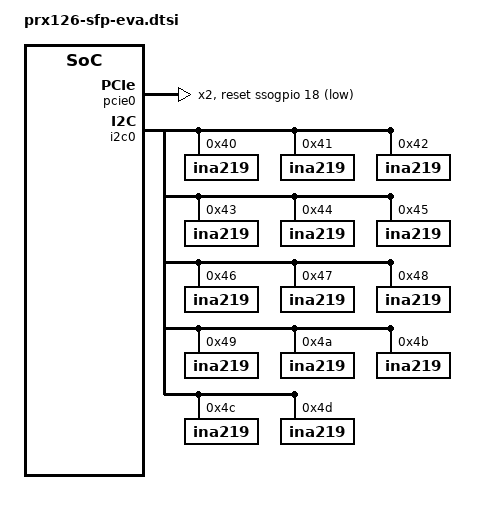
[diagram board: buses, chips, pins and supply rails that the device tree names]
#include <dt-bindings/gpio/gpio.h>
#include "prx126-sfp.dtsi"

/******************************************************************************
 ** Board configuration: Enable PCIe board configuration.
 ** PCIE sub-system feature configuration, the pcie0/1 are defined in Soc level
 ******************************************************************************/
&pcie0 {
	intel,rst-interval = <200>;
	intel,inbound-swap = <1>;
	intel,outbound-swap = <0>;
	reset-gpios = <&ssogpio 18 GPIO_ACTIVE_LOW>;
	num-lanes = <2>;
};

/******************************************************************************
 ** Board configuration: Enable CoC power management board feature
 ******************************************************************************/
&i2c0 {
	/* power monitor */
	ina219@40 {
		compatible = "ina219";
		reg = <0x40>;
		shunt-resistor = <10000>;
		rail-name = "PWR_12V";
	};

	ina219@41 {
		compatible = "ina219";
		reg = <0x41>;
		shunt-resistor = <10000>;
		rail-name = "PWR_3V3";
	};

	ina219@42 {
		compatible = "ina219";
		reg = <0x42>;
		shunt-resistor = <10000>;
		rail-name = "PWR_1V2_1V35";
	};

	ina219@43 {
		compatible = "ina219";
		reg = <0x43>;
		shunt-resistor = <10000>;
		rail-name = "PWR_0V9";
	};

	ina219@44 {
		compatible = "ina219";
		reg = <0x44>;
		shunt-resistor = <10000>;
		rail-name = "PWR_1V2_DDR";
	};

	ina219@45 {
		compatible = "ina219";
		reg = <0x45>;
		shunt-resistor = <10000>;
		rail-name = "PWR_2V5_DDR";
	};

	ina219@46 {
		compatible = "ina219";
		reg = <0x46>;
		shunt-resistor = <10000>;
		rail-name = "PWR_CPLD";
	};

	ina219@47 {
		compatible = "ina219";
		reg = <0x47>;
		shunt-resistor = <10000>;
		rail-name = "PWR_3V3_TID0";
	};

	ina219@48 {
		compatible = "ina219";
		reg = <0x48>;
		shunt-resistor = <10000>;
		rail-name = "PWR_12V_TID0";
	};

	ina219@49 {
		compatible = "ina219";
		reg = <0x49>;
		shunt-resistor = <10000>;
		rail-name = "PWR_3V3_TID1";
	};

	ina219@4a {
		compatible = "ina219";
		reg = <0x4a>;
		shunt-resistor = <10000>;
		rail-name = "PWR_12V_TID1";
	};

	ina219@4b {
		compatible = "ina219";
		reg = <0x4b>;
		shunt-resistor = <10000>;
		rail-name = "PWR_3V3_SFP";
	};

	ina219@4c {
		compatible = "ina219";
		reg = <0x4c>;
		shunt-resistor = <10000>;
		rail-name = "PWR_3V3_WAN";
	};

	ina219@4d {
		compatible = "ina219";
		reg = <0x4d>;
		shunt-resistor = <10000>;
		rail-name = "PWR_12V_WAN";
	};

	ina219@4e {
		status = "disabled";
		compatible = "ina219";
		reg = <0x4e>;
		shunt-resistor = <10000>;
		rail-name = "PWR_FLASH";
	};
};
